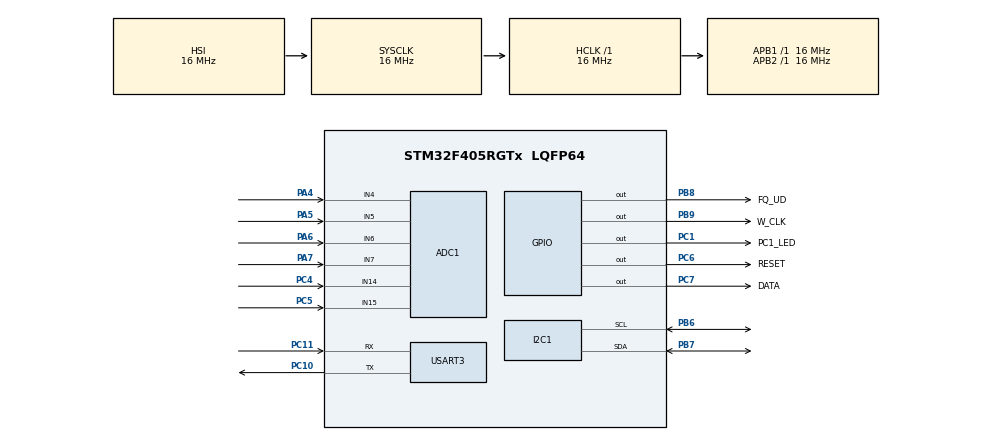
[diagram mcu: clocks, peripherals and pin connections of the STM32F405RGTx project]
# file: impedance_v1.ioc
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ADC1.Channel-0\#ChannelRegularConversion=ADC_CHANNEL_4
ADC1.NbrOfConversionFlag=1
ADC1.Rank-0\#ChannelRegularConversion=1
ADC1.SamplingTime-0\#ChannelRegularConversion=ADC_SAMPLETIME_3CYCLES
ADC1.master=1
Mcu.Family=STM32F4
Mcu.Name=STM32F405RGTx
Mcu.Package=LQFP64
NVIC.PriorityGroup=NVIC_PRIORITYGROUP_4
PA13.Mode=Trace_Asynchronous_SW
PA13.Signal=SYS_JTMS-SWDIO
PA14.Mode=Trace_Asynchronous_SW
PA14.Signal=SYS_JTCK-SWCLK
PA4.Signal=ADCx_IN4
PA5.Signal=ADCx_IN5
PA6.Signal=ADCx_IN6
PA7.Signal=ADCx_IN7
PB3.Mode=Trace_Asynchronous_SW
PB3.Signal=SYS_JTDO-SWO
PB6.Mode=I2C
PB6.Signal=I2C1_SCL
PB7.Mode=I2C
PB7.Signal=I2C1_SDA
PB8.GPIO_Label=FQ_UD
PB8.Signal=GPIO_Output
PB9.GPIO_Label=W_CLK
PB9.Signal=GPIO_Output
PC1.GPIO_Label=PC1_LED
PC1.Signal=GPIO_Output
PC10.Mode=Asynchronous
PC10.Signal=USART3_TX
PC11.Mode=Asynchronous
PC11.Signal=USART3_RX
PC14-OSC32_IN.Mode=LSE-External-Oscillator
PC14-OSC32_IN.Signal=RCC_OSC32_IN
PC15-OSC32_OUT.Mode=LSE-External-Oscillator
PC15-OSC32_OUT.Signal=RCC_OSC32_OUT
PC4.Signal=ADCx_IN14
PC5.Signal=ADCx_IN15
PC6.GPIO_Label=RESET
PC6.Signal=GPIO_Output
PC7.GPIO_Label=DATA
PC7.Signal=GPIO_Output
PH0-OSC_IN.Mode=HSE-External-Oscillator
PH0-OSC_IN.Signal=RCC_OSC_IN
PH1-OSC_OUT.Mode=HSE-External-Oscillator
PH1-OSC_OUT.Signal=RCC_OSC_OUT
ProjectManager.HeapSize=0x200
ProjectManager.StackSize=0x400
ProjectManager.TargetToolchain=STM32CubeIDE
RCC.AHBFreq_Value=16000000
RCC.APB1Freq_Value=16000000
RCC.APB2Freq_Value=16000000
RCC.CortexFreq_Value=16000000
RCC.HSE_VALUE=25000000
RCC.HSI_VALUE=16000000
RCC.SYSCLKFreq_VALUE=16000000
RCC.VCOOutputFreq_Value=192000000
SH.ADCx_IN14.0=ADC1_IN14,IN14
SH.ADCx_IN15.0=ADC1_IN15,IN15
SH.ADCx_IN4.0=ADC1_IN4,IN4
SH.ADCx_IN5.0=ADC1_IN5,IN5
SH.ADCx_IN6.0=ADC1_IN6,IN6
SH.ADCx_IN7.0=ADC1_IN7,IN7
USART3.VirtualMode=VM_ASYNC
board=custom

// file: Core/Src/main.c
/* USER CODE BEGIN Header */
/**
  ******************************************************************************
  * @file           : main.c
  * @brief          : Main program body
  ******************************************************************************
  * @attention
  *
  * Copyright (c) 2024 STMicroelectronics.
  * All rights reserved.
  *
  * This software is licensed under terms that can be found in the LICENSE file
  * in the root directory of this software component.
  * If no LICENSE file comes with this software, it is provided AS-IS.
  *
  ******************************************************************************
  */
/* USER CODE END Header */
#include "main.h"

/* USER CODE BEGIN PD */
#define pulseHigh(GPIO_PORT, GPIO_PIN)      \
    do {                                    \
        HAL_GPIO_WritePin(GPIO_PORT, GPIO_PIN, GPIO_PIN_SET);   /* Set High */ \
        HAL_GPIO_WritePin(GPIO_PORT, GPIO_PIN, GPIO_PIN_RESET); /* Set Low */  \
    } while(0)

/* USER CODE END PD */

ADC_HandleTypeDef hadc1;

I2C_HandleTypeDef hi2c1;

UART_HandleTypeDef huart3;

void SystemClock_Config(void);
static void MX_GPIO_Init(void);
static void MX_ADC1_Init(void);
static void MX_USART3_UART_Init(void);
static void MX_I2C1_Init(void);
/* USER CODE BEGIN PFP */
void tfr_byte(uint8_t data);
void sendFrequency(double frequency);
/* USER CODE END PFP */

/* USER CODE BEGIN 0 */

// Log Sweep Parameter f(1KHz to 9KHz)
long unsigned int start_freq_1 = 1e3; // start frequency (Hz)
long unsigned int stop_freq_1 = 9e3; // stop frequency (Hz) (N.B. Don't sweep over 60MHz and at 25MHz)
long unsigned int freq_step_1 = 1e3; // frequency step size (Hz)

// Frequency sweeping parameters (10KHz to 100KHz)
long unsigned int start_freq_2 = 10e3; // start frequency (Hz)
long unsigned int stop_freq_2 = 100e3; // stop frequency (Hz) (N.B. Don't sweep over 60MHz and at 25MHz)
long unsigned int freq_step_2 = 10e3; // frequency step size (Hz)

// Frequency sweeping parameters (100KHZ to 1000KHz)
long unsigned int start_freq_3 = 100e3; // start frequency (Hz)

long unsigned int stop_freq_3 = 1000e3; // stop frequency (Hz) (N.B. Don't sweep over 60MHz and at 25MHz)

long unsigned int freq_step_3 = 100e3; // frequency step size (Hz)
long unsigned int freq; // frequency variable for sweep
// long unsigned int freq = 40000000; // set inital frequency (40 MHz)

/* USER CODE END 0 */

int main(void)
{

  /* MCU Configuration--------------------------------------------------------*/

  /* Reset of all peripherals, Initializes the Flash interface and the Systick. */
  HAL_Init();

  /* Configure the system clock */
  SystemClock_Config();

  /* Initialize all configured peripherals */
  MX_GPIO_Init();
  MX_ADC1_Init();
  MX_USART3_UART_Init();
  MX_I2C1_Init();
  /* USER CODE BEGIN 2 */
  // Initialize the AD9851 module.
  pulseHigh(RESET_GPIO_Port, RESET_Pin);
  pulseHigh(FQ_UD_GPIO_Port, FQ_UD_Pin);
  pulseHigh(DATA_GPIO_Port, DATA_Pin);

  // Toggle the LED on PC1
  for(int i=0; i<=10; i++){
	  HAL_GPIO_WritePin(GPIOC, PC1_LED_Pin, GPIO_PIN_SET);
	  HAL_Delay(100); // wait for 100ms
	  HAL_GPIO_WritePin(GPIOC, PC1_LED_Pin, GPIO_PIN_RESET);
	  HAL_Delay(100); // wait for 100ms
  }

  /* USER CODE END 2 */

  /* Infinite loop */
  /* USER CODE BEGIN WHILE */
  while (1)
  {

	  // (1KHz to 9Khz
	  for(freq=start_freq_1; freq <= stop_freq_1; freq+=freq_step_1){
		  sendFrequency(freq);
		  // read inputs
		  HAL_Delay(30); // 30 ms delay
		}

	  // for (10 KHz to 100 KHz)
	  for(freq=start_freq_2; freq <= stop_freq_2; freq+=freq_step_2){
	    sendFrequency(freq);
	    // read inputs
	    HAL_Delay(30); // 30 ms delay
	  }

	  // for (100Khz to 1MHz)
	   for(freq=start_freq_3; freq <= stop_freq_3; freq+=freq_step_3){
	      sendFrequency(freq);
	      // read inputs
	      HAL_Delay(30); // 30 ms delay
	    }

    /* USER CODE END WHILE */

  }
}

void SystemClock_Config(void)
{
  RCC_OscInitTypeDef RCC_OscInitStruct = {0};
  RCC_ClkInitTypeDef RCC_ClkInitStruct = {0};

  /** Configure the main internal regulator output voltage
  */
  __HAL_RCC_PWR_CLK_ENABLE();
  __HAL_PWR_VOLTAGESCALING_CONFIG(PWR_REGULATOR_VOLTAGE_SCALE1);

  /** Initializes the RCC Oscillators according to the specified parameters
  * in the RCC_OscInitTypeDef structure.
  */
  RCC_OscInitStruct.OscillatorType = RCC_OSCILLATORTYPE_HSI;
  RCC_OscInitStruct.HSIState = RCC_HSI_ON;
  RCC_OscInitStruct.HSICalibrationValue = RCC_HSICALIBRATION_DEFAULT;
  RCC_OscInitStruct.PLL.PLLState = RCC_PLL_NONE;
  if (HAL_RCC_OscConfig(&RCC_OscInitStruct) != HAL_OK)
  {
    Error_Handler();
  }

  /** Initializes the CPU, AHB and APB buses clocks
  */
  RCC_ClkInitStruct.ClockType = RCC_CLOCKTYPE_HCLK|RCC_CLOCKTYPE_SYSCLK
                              |RCC_CLOCKTYPE_PCLK1|RCC_CLOCKTYPE_PCLK2;
  RCC_ClkInitStruct.SYSCLKSource = RCC_SYSCLKSOURCE_HSI;
  RCC_ClkInitStruct.AHBCLKDivider = RCC_SYSCLK_DIV1;
  RCC_ClkInitStruct.APB1CLKDivider = RCC_HCLK_DIV1;
  RCC_ClkInitStruct.APB2CLKDivider = RCC_HCLK_DIV1;

  if (HAL_RCC_ClockConfig(&RCC_ClkInitStruct, FLASH_LATENCY_0) != HAL_OK)
  {
    Error_Handler();
  }
}

static void MX_ADC1_Init(void)
{

  ADC_ChannelConfTypeDef sConfig = {0};

  /** Configure the global features of the ADC (Clock, Resolution, Data Alignment and number of conversion)
  */
  hadc1.Instance = ADC1;
  hadc1.Init.ClockPrescaler = ADC_CLOCK_SYNC_PCLK_DIV2;
  hadc1.Init.Resolution = ADC_RESOLUTION_12B;
  hadc1.Init.ScanConvMode = DISABLE;
  hadc1.Init.ContinuousConvMode = DISABLE;
  hadc1.Init.DiscontinuousConvMode = DISABLE;
  hadc1.Init.ExternalTrigConvEdge = ADC_EXTERNALTRIGCONVEDGE_NONE;
  hadc1.Init.ExternalTrigConv = ADC_SOFTWARE_START;
  hadc1.Init.DataAlign = ADC_DATAALIGN_RIGHT;
  hadc1.Init.NbrOfConversion = 1;
  hadc1.Init.DMAContinuousRequests = DISABLE;
  hadc1.Init.EOCSelection = ADC_EOC_SINGLE_CONV;
  if (HAL_ADC_Init(&hadc1) != HAL_OK)
  {
    Error_Handler();
  }

  /** Configure for the selected ADC regular channel its corresponding rank in the sequencer and its sample time.
  */
  sConfig.Channel = ADC_CHANNEL_4;
  sConfig.Rank = 1;
  sConfig.SamplingTime = ADC_SAMPLETIME_3CYCLES;
  if (HAL_ADC_ConfigChannel(&hadc1, &sConfig) != HAL_OK)
  {
    Error_Handler();
  }

}

static void MX_I2C1_Init(void)
{

  hi2c1.Instance = I2C1;
  hi2c1.Init.ClockSpeed = 100000;
  hi2c1.Init.DutyCycle = I2C_DUTYCYCLE_2;
  hi2c1.Init.OwnAddress1 = 0;
  hi2c1.Init.AddressingMode = I2C_ADDRESSINGMODE_7BIT;
  hi2c1.Init.DualAddressMode = I2C_DUALADDRESS_DISABLE;
  hi2c1.Init.OwnAddress2 = 0;
  hi2c1.Init.GeneralCallMode = I2C_GENERALCALL_DISABLE;
  hi2c1.Init.NoStretchMode = I2C_NOSTRETCH_DISABLE;
  if (HAL_I2C_Init(&hi2c1) != HAL_OK)
  {
    Error_Handler();
  }

}

static void MX_USART3_UART_Init(void)
{

  huart3.Instance = USART3;
  huart3.Init.BaudRate = 115200;
  huart3.Init.WordLength = UART_WORDLENGTH_8B;
  huart3.Init.StopBits = UART_STOPBITS_1;
  huart3.Init.Parity = UART_PARITY_NONE;
  huart3.Init.Mode = UART_MODE_TX_RX;
  huart3.Init.HwFlowCtl = UART_HWCONTROL_NONE;
  huart3.Init.OverSampling = UART_OVERSAMPLING_16;
  if (HAL_UART_Init(&huart3) != HAL_OK)
  {
    Error_Handler();
  }

}

static void MX_GPIO_Init(void)
{
  GPIO_InitTypeDef GPIO_InitStruct = {0};

  /* GPIO Ports Clock Enable */
  __HAL_RCC_GPIOC_CLK_ENABLE();
  __HAL_RCC_GPIOH_CLK_ENABLE();
  __HAL_RCC_GPIOA_CLK_ENABLE();
  __HAL_RCC_GPIOB_CLK_ENABLE();

  /*Configure GPIO pin Output Level */
  HAL_GPIO_WritePin(GPIOC, PC1_LED_Pin|RESET_Pin|DATA_Pin, GPIO_PIN_RESET);

  /*Configure GPIO pin Output Level */
  HAL_GPIO_WritePin(GPIOB, FQ_UD_Pin|W_CLK_Pin, GPIO_PIN_RESET);

  /*Configure GPIO pins : PC1_LED_Pin RESET_Pin DATA_Pin */
  GPIO_InitStruct.Pin = PC1_LED_Pin|RESET_Pin|DATA_Pin;
  GPIO_InitStruct.Mode = GPIO_MODE_OUTPUT_PP;
  GPIO_InitStruct.Pull = GPIO_NOPULL;
  GPIO_InitStruct.Speed = GPIO_SPEED_FREQ_LOW;
  HAL_GPIO_Init(GPIOC, &GPIO_InitStruct);

  /*Configure GPIO pins : FQ_UD_Pin W_CLK_Pin */
  GPIO_InitStruct.Pin = FQ_UD_Pin|W_CLK_Pin;
  GPIO_InitStruct.Mode = GPIO_MODE_OUTPUT_PP;
  GPIO_InitStruct.Pull = GPIO_NOPULL;
  GPIO_InitStruct.Speed = GPIO_SPEED_FREQ_LOW;
  HAL_GPIO_Init(GPIOB, &GPIO_InitStruct);

}

/* USER CODE BEGIN 4 */

// define functions
void tfr_byte(uint8_t data){
	for(int i=0; i<8; i++, data >>= 1){
		HAL_GPIO_WritePin(DATA_GPIO_Port, DATA_Pin, data & 0x01);
		pulseHigh(W_CLK_GPIO_Port, W_CLK_Pin); // after each bit sent, CLK is pulsed high
	}
}

void sendFrequency(double frequency){
	 int32_t freq1 = frequency * 4294967296/AD9851_CLOCK; // note 180 MHz clock on 9851
	  for(int b = 0; b<4; b++, freq1 >>= 8){
	    tfr_byte(freq1 & 0xFF);
	  }
	  // Final control byte: zero phase, power down disable, 6 x multiplier enbale bit for 30 MHz reference clk
	  //tfr_byte(0x00); // to disengage the internal clock mulitplier in case of using higher clock e.g. 125MHZ
	  tfr_byte(0x01);
	  pulseHigh(FQ_UD_GPIO_Port, FQ_UD_Pin); // Done! should see output
}

/* USER CODE END 4 */

void Error_Handler(void)
{
  __disable_irq();
  while (1)
  {
  }
}
